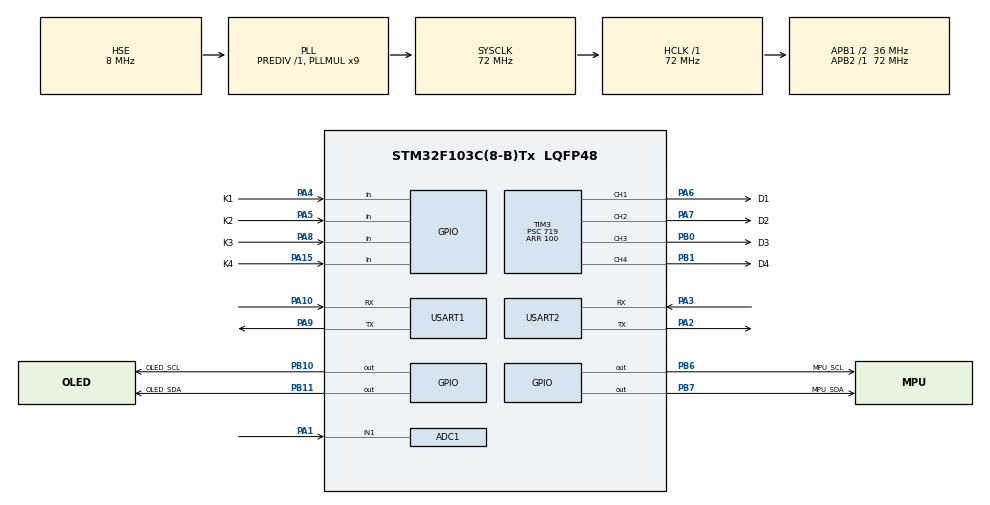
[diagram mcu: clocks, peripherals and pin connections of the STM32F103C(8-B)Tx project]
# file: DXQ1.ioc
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ADC1.Channel-0\#ChannelRegularConversion=ADC_CHANNEL_1
ADC1.ContinuousConvMode=ENABLE
ADC1.NbrOfConversionFlag=1
ADC1.Rank-0\#ChannelRegularConversion=1
ADC1.SamplingTime-0\#ChannelRegularConversion=ADC_SAMPLETIME_55CYCLES_5
ADC1.master=1
Dma.ADC1.0.Direction=DMA_PERIPH_TO_MEMORY
Dma.ADC1.0.Instance=DMA1_Channel1
Dma.ADC1.0.MemDataAlignment=DMA_MDATAALIGN_HALFWORD
Dma.ADC1.0.MemInc=DMA_MINC_ENABLE
Dma.ADC1.0.Mode=DMA_CIRCULAR
Dma.ADC1.0.PeriphDataAlignment=DMA_PDATAALIGN_HALFWORD
Dma.ADC1.0.PeriphInc=DMA_PINC_DISABLE
Dma.ADC1.0.Priority=DMA_PRIORITY_LOW
Dma.Request0=ADC1
Dma.Request1=USART2_RX
Dma.Request2=USART2_TX
Dma.USART2_RX.1.Direction=DMA_PERIPH_TO_MEMORY
Dma.USART2_RX.1.Instance=DMA1_Channel6
Dma.USART2_RX.1.MemDataAlignment=DMA_MDATAALIGN_BYTE
Dma.USART2_RX.1.MemInc=DMA_MINC_ENABLE
Dma.USART2_RX.1.Mode=DMA_NORMAL
Dma.USART2_RX.1.PeriphDataAlignment=DMA_PDATAALIGN_BYTE
Dma.USART2_RX.1.PeriphInc=DMA_PINC_DISABLE
Dma.USART2_RX.1.Priority=DMA_PRIORITY_LOW
Dma.USART2_TX.2.Direction=DMA_MEMORY_TO_PERIPH
Dma.USART2_TX.2.Instance=DMA1_Channel7
Dma.USART2_TX.2.MemDataAlignment=DMA_MDATAALIGN_BYTE
Dma.USART2_TX.2.MemInc=DMA_MINC_ENABLE
Dma.USART2_TX.2.Mode=DMA_NORMAL
Dma.USART2_TX.2.PeriphDataAlignment=DMA_PDATAALIGN_BYTE
Dma.USART2_TX.2.PeriphInc=DMA_PINC_DISABLE
Dma.USART2_TX.2.Priority=DMA_PRIORITY_LOW
FREERTOS.Tasks01=defaultTask,0,256,StartDefaultTask,Default,NULL,Dynamic,NULL,NULL;myTaskGUI,-3,256,StartTaskGUI,Default,NULL,Dynamic,NULL,NULL;myTaskKeyScan,-3,256,StartTaskKeyScan,Default,NULL,Dynamic,NULL,NULL;myTaskMpu,-3,128,StartTaskMpu,Default,NULL,Dynamic,NULL,NULL;myTaskWifi,-3,128,StartTaskWifi,Default,NULL,Dynamic,NULL,NULL
FREERTOS.configTOTAL_HEAP_SIZE=8192
Mcu.Family=STM32F1
Mcu.Name=STM32F103C(8-B)Tx
Mcu.Package=LQFP48
NVIC.DMA1_Channel1_IRQn=true\:5\:0\:false\:false\:true\:true\:false\:true
NVIC.DMA1_Channel6_IRQn=true\:5\:0\:false\:false\:true\:true\:false\:true
NVIC.DMA1_Channel7_IRQn=true\:5\:0\:false\:false\:true\:true\:false\:true
NVIC.PriorityGroup=NVIC_PRIORITYGROUP_4
NVIC.TIM4_IRQn=true\:0\:0\:false\:false\:true\:false\:false\:true
NVIC.TimeBase=TIM4_IRQn
NVIC.TimeBaseIP=TIM4
NVIC.USART1_IRQn=true\:5\:0\:false\:false\:true\:true\:true\:true
NVIC.USART2_IRQn=true\:5\:0\:false\:false\:true\:true\:true\:true
PA1.Signal=ADCx_IN1
PA10.Mode=Asynchronous
PA10.Signal=USART1_RX
PA13.Mode=Serial_Wire
PA13.Signal=SYS_JTMS-SWDIO
PA14.Mode=Serial_Wire
PA14.Signal=SYS_JTCK-SWCLK
PA15.GPIO_Label=K4
PA15.GPIO_PuPd=GPIO_PULLUP
PA15.Signal=GPIO_Input
PA2.Mode=Asynchronous
PA2.Signal=USART2_TX
PA3.Mode=Asynchronous
PA3.Signal=USART2_RX
PA4.GPIO_Label=K1
PA4.GPIO_PuPd=GPIO_PULLUP
PA4.Signal=GPIO_Input
PA5.GPIO_Label=K2
PA5.GPIO_PuPd=GPIO_PULLUP
PA5.Signal=GPIO_Input
PA6.GPIO_Label=D1
PA6.Signal=S_TIM3_CH1
PA7.GPIO_Label=D2
PA7.Signal=S_TIM3_CH2
PA8.GPIO_Label=K3
PA8.GPIO_PuPd=GPIO_PULLUP
PA8.Signal=GPIO_Input
PA9.Mode=Asynchronous
PA9.Signal=USART1_TX
PB0.GPIO_Label=D3
PB0.Signal=S_TIM3_CH3
PB1.GPIO_Label=D4
PB1.Signal=S_TIM3_CH4
PB10.GPIO_Label=OLED_SCL
PB10.GPIO_ModeDefaultOutputPP=GPIO_MODE_OUTPUT_OD
PB10.Signal=GPIO_Output
PB11.GPIO_Label=OLED_SDA
PB11.GPIO_ModeDefaultOutputPP=GPIO_MODE_OUTPUT_OD
PB11.Signal=GPIO_Output
PB6.GPIO_Label=MPU_SCL
PB6.GPIO_ModeDefaultOutputPP=GPIO_MODE_OUTPUT_OD
PB6.Signal=GPIO_Output
PB7.GPIO_Label=MPU_SDA
PB7.GPIO_ModeDefaultOutputPP=GPIO_MODE_OUTPUT_OD
PB7.Signal=GPIO_Output
PD0-OSC_IN.Mode=HSE-External-Oscillator
PD0-OSC_IN.Signal=RCC_OSC_IN
PD1-OSC_OUT.Mode=HSE-External-Oscillator
PD1-OSC_OUT.Signal=RCC_OSC_OUT
ProjectManager.HeapSize=0x200
ProjectManager.StackSize=0x400
ProjectManager.TargetToolchain=MDK-ARM V5
RCC.ADCPresc=RCC_ADCPCLK2_DIV6
RCC.AHBFreq_Value=72000000
RCC.APB1CLKDivider=RCC_HCLK_DIV2
RCC.APB1Freq_Value=36000000
RCC.APB1TimFreq_Value=72000000
RCC.APB2Freq_Value=72000000
RCC.APB2TimFreq_Value=72000000
RCC.HCLKFreq_Value=72000000
RCC.PLLMUL=RCC_PLL_MUL9
RCC.PLLSourceVirtual=RCC_PLLSOURCE_HSE
RCC.SYSCLKFreq_VALUE=72000000
RCC.SYSCLKSource=RCC_SYSCLKSOURCE_PLLCLK
RCC.USBFreq_Value=72000000
SH.ADCx_IN1.0=ADC1_IN1,IN1
SH.S_TIM3_CH1.0=TIM3_CH1,PWM Generation1 CH1
SH.S_TIM3_CH2.0=TIM3_CH2,PWM Generation2 CH2
SH.S_TIM3_CH3.0=TIM3_CH3,PWM Generation3 CH3
SH.S_TIM3_CH4.0=TIM3_CH4,PWM Generation4 CH4
TIM3.Channel-PWM\ Generation1\ CH1=TIM_CHANNEL_1
TIM3.Channel-PWM\ Generation2\ CH2=TIM_CHANNEL_2
TIM3.Channel-PWM\ Generation3\ CH3=TIM_CHANNEL_3
TIM3.Channel-PWM\ Generation4\ CH4=TIM_CHANNEL_4
TIM3.OCPolarity_1=TIM_OCPOLARITY_LOW
TIM3.OCPolarity_2=TIM_OCPOLARITY_LOW
TIM3.OCPolarity_3=TIM_OCPOLARITY_LOW
TIM3.OCPolarity_4=TIM_OCPOLARITY_LOW
TIM3.Period=100
TIM3.Prescaler=719
USART1.VirtualMode=VM_ASYNC
USART2.VirtualMode=VM_ASYNC
VP_FREERTOS_VS_CMSIS_V1.Mode=CMSIS_V1
VP_SYS_VS_tim4.Mode=TIM4
VP_TIM3_VS_ClockSourceINT.Mode=Internal
board=custom

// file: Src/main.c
/* USER CODE BEGIN Header */
/**
  ******************************************************************************
  * @file           : main.c
  * @brief          : Main program body
  ******************************************************************************
  * @attention
  *
  * <h2><center>&copy; Copyright (c) 2020 STMicroelectronics.
  * All rights reserved.</center></h2>
  *
  * This software component is licensed by ST under BSD 3-Clause license,
  * the "License"; You may not use this file except in compliance with the
  * License. You may obtain a copy of the License at:
  *                        opensource.org/licenses/BSD-3-Clause
  *
  ******************************************************************************
  */
/* USER CODE END Header */

#include "main.h"
#include "cmsis_os.h"

/* USER CODE BEGIN Includes */
#include "GUI.h"
#include<stdio.h>
#include<stdlib.h>
#include<string.h>
#include "MPU6050.h"
#include "math.h"
#include "ESP8266.h"
/* USER CODE END Includes */

/* USER CODE BEGIN PD */
#define K1        HAL_GPIO_ReadPin(GPIOA,GPIO_PIN_4)  //K1按键PA4
#define K2        HAL_GPIO_ReadPin(GPIOA,GPIO_PIN_5)  //K2按键PA5
#define K3        HAL_GPIO_ReadPin(GPIOA,GPIO_PIN_8)  //K3按键PA8
#define K4        HAL_GPIO_ReadPin(GPIOA,GPIO_PIN_15)  //K2按键PA15
#define D1        HAL_GPIO_ReadPin(GPIOA,GPIO_PIN_6)
#define D2        HAL_GPIO_ReadPin(GPIOA,GPIO_PIN_7)
#define D3        HAL_GPIO_ReadPin(GPIOB,GPIO_PIN_0)
#define D4        HAL_GPIO_ReadPin(GPIOB,GPIO_PIN_1)
#define K1_PRES 1
#define K2_PRES 2
#define K3_PRES 0x04
#define K4_PRES 0x08

#define WS_MAIN 0
#define WS_TEST 1
#define WS_MPU 2
#define WS_PWM 3
#define WS_WIFI 4
/* USER CODE END PD */

ADC_HandleTypeDef hadc1;
DMA_HandleTypeDef hdma_adc1;

TIM_HandleTypeDef htim3;

UART_HandleTypeDef huart1;
UART_HandleTypeDef huart2;
DMA_HandleTypeDef hdma_usart2_rx;
DMA_HandleTypeDef hdma_usart2_tx;

osThreadId defaultTaskHandle;
osThreadId myTaskGUIHandle;
osThreadId myTaskKeyScanHandle;
osThreadId myTaskMpuHandle;
osThreadId myTaskWifiHandle;
/* USER CODE BEGIN PV */
extern GUI_FLASH const GUI_FONT GUI_FontHZ_SimSun_16;
extern GUI_CONST_STORAGE GUI_BITMAP bmyc;
extern GUI_FLASH const GUI_FONT GUI_FontHZ_SimSun_8;
uint8_t g_ws =WS_MAIN;
uint8_t g_ws_next=WS_TEST;
uint16_t val[20];
uint16_t adval=0;
uint16_t freq=500;
unsigned char key_up=1;     //按键松开标志
// uint8_t wifi_flag=1;
uint8_t g_key_cur=0;
uint8_t ledgo=1;
  int led_type=0;
   int tick=0;
 int mpuok=0;
 uint8_t num=0;
  uint8_t num1=5;
   uint8_t num2=0;
 uint8_t pwm_flag=0;
 uint8_t show_mpu=0;
uint8_t test_stat=0;
uint8_t wifi_flag=0;
uint8_t rx1_buff[MAX_RECV_LEN] = {0};
uint8_t rx_line[MAX_RECV_LEN]={0};
uint8_t * pBuf = rx1_buff; // 当前接收字节存放位置指针

uint8_t line_flag = 0; // 一行数据接收标志

uint8_t rx2_buff[MAX_RECV_LEN] = {0};
uint8_t rx2_line[MAX_RECV_LEN]={0};

uint8_t line2_flag = 0; // 一行数据接收标志
 uint8_t maxlight = 100;    // 最大亮度占空比
  uint8_t minlight = 1;     // 最低亮度占空比
  char User_ESP8266_TcpServer_IP[4] = {192, 168,4,2}; //要连接的服务器的 IP
char User_ESP8266_TcpServer_Port[10] = "4321";      //要连接的服务器的端口
/* USER CODE END PV */

void SystemClock_Config(void);
static void MX_GPIO_Init(void);
static void MX_DMA_Init(void);
static void MX_ADC1_Init(void);
static void MX_USART1_UART_Init(void);
static void MX_TIM3_Init(void);
static void MX_USART2_UART_Init(void);
static void MX_USART2_UART_Init(void);
static void MX_USART2_UART_Init(void);
void StartDefaultTask(void const * argument);
void StartTaskGUI(void const * argument);
void StartTaskKeyScan(void const * argument);
void StartTaskMpu(void const * argument);
void StartTaskWifi(void const * argument);

/* USER CODE BEGIN 0 */
int check_5m(void)
{
  if(rx_line[4]>='a'&&rx_line[4]<='z'&&rx_line[5]>='a'&&rx_line[5]<='z')
  {
        if('5'+'M'+rx_line[2]+rx_line[3]==(16*(rx_line[4] - 'a' + 10)+rx_line[5] -'a'+10))
      return 1;
      return 0;
  }
   if(rx_line[4]>='a'&&rx_line[4]<='z'&&rx_line[5]>='0'&&rx_line[5]<='9')
   {
     if('5'+'M'+rx_line[2]+rx_line[3]==(16*(rx_line[4] - 'a' + 10)+rx_line[5] -'0'))
      return 1;
      return 0;
   }
  if(rx_line[4]>='A'&&rx_line[4]<='Z'&&rx_line[5]>='A'&&rx_line[5]<='Z')
  {
        if('5'+'M'+rx_line[2]+rx_line[3]==(16*(rx_line[4] - 'A' + 10)+rx_line[5] -'A'+10))
      return 1;
      return 0;
  }
  return 0;

}

int check_pwm(void)
{
  char TAB[16]={'0','1','2','3','4','5','6','7','8','9','A','B','C','D','E','F'};
  uint32_t sum=0;
          uint8_t i;

          for(i=0;i<5;++i)
          {
              sum+=rx_line[i];
          }
          if(rx_line[5]==TAB[(sum&0xff)>>4]&&rx_line[6]==TAB[(sum&0x0f)])
          return 1;
          return 0;

}
void addchecksum(char *str )
{
   const char TAB[16]={'0','1','2','3','4','5','6','7','8','9','A','B','C','D','E','F'};
         uint32_t sum=0;
          uint8_t i;
         int  len=strlen(str);
          for(i=0;i<len;++i)
          {
            if(str[i]!='\n'&&str[i]!=0)
              sum+=str[i];
            else break;
          }
          str[len]=TAB[(sum&0xff)>>4];
          str[len+1]=TAB[(sum&0x0f)];
          str[len+2]='\n';
          str[len+3]='\0';
}

int fputc(int ch, FILE *f)
{
  HAL_UART_Transmit(&huart1, (uint8_t *)&ch, 1, 0xffff); //
  return 0;
}
void setLED(unsigned char val)
{
	HAL_GPIO_WritePin(D1_GPIO_Port,D1_Pin,(val&0x01)?GPIO_PIN_RESET:GPIO_PIN_SET);
	HAL_GPIO_WritePin(D2_GPIO_Port,D2_Pin,(val&0x02)?GPIO_PIN_RESET:GPIO_PIN_SET);
	HAL_GPIO_WritePin(D3_GPIO_Port,D3_Pin,(val&0x04)?GPIO_PIN_RESET:GPIO_PIN_SET);
	HAL_GPIO_WritePin(D4_GPIO_Port,D4_Pin,(val&0x08)?GPIO_PIN_RESET:GPIO_PIN_SET);
}
unsigned char KEY_Scan(unsigned char mode)
{

    if(mode==1)key_up=1;    //支持连按
    if(key_up&&(K1==0||K2==0||K3==0||K4==0))
    {
        HAL_Delay(100);
        key_up=0;
        if(K1==0)       return K1_PRES;
        else if(K2==0)  return K2_PRES;
        else if(K3==0) return K3_PRES;
				else if(K4==0) return K4_PRES;
    }else if(K1==1&&K2==1&&K3==1&&K4==1)key_up=1;
    return 0;   //无按键按下
}
void ShowMainGUI(void)
{
  GUI_Clear();
	GUI_DispStringHCenterAt("主菜单",64,0);
	if(g_ws_next>=WS_PWM)
	{
		if((HAL_GetTick()%1000)>500)
		{
			if(WS_MPU==g_ws_next)
        GUI_DispStringAt("*",0,16);
      if(g_ws_next==WS_PWM)
        GUI_DispStringAt("*",0,32);
      if(g_ws_next==WS_WIFI)
        GUI_DispStringAt("*",0,48);
		}

		GUI_DispStringAt("姿态解算",16,16);
		GUI_DispStringAt("呼吸灯",16,32);
		GUI_DispStringAt("WIFI通信",16,48);
	}
	else {
    	if((HAL_GetTick()%1000)>500)
		{
			if(WS_TEST==g_ws_next)
        GUI_DispStringAt("*",0,16);
      if(g_ws_next==WS_MPU)
        GUI_DispStringAt("*",0,32);
      if(g_ws_next==WS_PWM)
        GUI_DispStringAt("*",0,48);
		}
		GUI_DispStringAt("系统测试",16,16);
		GUI_DispStringAt("姿态解算",16,32);
		GUI_DispStringAt("呼吸灯",16,48);
	}
  GUI_Update();
}
void ShowTestGUI(void)
{
  GUI_Clear();
  GUI_DispStringHCenterAt("系统测试",64,0);
   GUI_SetFont(&GUI_Font8_ASCII);
  if(test_stat==0)
  {

      char buf[30];
      sprintf(buf,"AD:%d",adval);
      GUI_DispStringAt(buf,10,16);

      GUI_FillRect(50,16,50+(adval%1000)*70/1000,17);
      if(adval>=4000)
      GUI_FillRect(50,18,120,19);
      if(adval>=3000)
      GUI_FillRect(50,20,120,21);
      if(adval>=2000)
      GUI_FillRect(50,22,120,23);
      if(adval>=1000)
      GUI_FillRect(50,24,120,25);
      GUI_DispStringAt("press k3 to i/s",10,55);
      GUI_SetFont(&GUI_FontHZ_SimSun_8);
      if(K1==0)
      {
        GUI_DispStringAt("▁",10,30);
        // GUI_SetColor(GUI_COLOR_BLACK);
        // GUI_DispStringAt("K1",10,30);
        // GUI_SetColor(GUI_COLOR_WHITE);
      }
      else {
        GUI_DispStringAt("█",10,30);
      }

      if(K2==0)
      {
        GUI_DispStringAt("▁",30,30);
        // GUI_SetColor(GUI_COLOR_BLACK);
        // GUI_DispStringAt("K2",30,30);
        // GUI_SetColor(GUI_COLOR_WHITE);
      }
      else {
        GUI_DispStringAt("█",30,30);
      }
      if(K3==0)
      {
        GUI_DispStringAt("▁",50,30);
        // GUI_SetColor(GUI_COLOR_BLACK);
        // GUI_DispStringAt("K3",50,30);
        // GUI_SetColor(GUI_COLOR_WHITE);

      }
      else {
        GUI_DispStringAt("█",50,30);
      }
      if(K4==0)
      {
        GUI_DispStringAt("▁",70,30);
        // GUI_SetColor(GUI_COLOR_BLACK);
        // GUI_DispStringAt("K4",70,30);
        // GUI_SetColor(GUI_COLOR_WHITE);
      }
      else {
        GUI_DispStringAt("█",70,30);
      }
      if(D1==0)
      {
        GUI_DispStringAt("●",10,40);
        // GUI_SetColor(GUI_COLOR_BLACK);
        // GUI_DispStringAt("D1",10,40);
        // GUI_SetColor(GUI_COLOR_WHITE);
      }
      else {
        GUI_DispStringAt("○",10,40);
      }
      if(D2==0)
      {
        GUI_DispStringAt("●",30,40);
        // GUI_SetColor(GUI_COLOR_BLACK);
        // GUI_DispStringAt("D2",30,40);
        // GUI_SetColor(GUI_COLOR_WHITE);
      }
      else {
        GUI_DispStringAt("○",30,40);
      }
      if(D3==0)
      {
        GUI_DispStringAt("●",50,40);
        // GUI_SetColor(GUI_COLOR_BLACK);
        // GUI_DispStringAt("D3",50,40);
        // GUI_SetColor(GUI_COLOR_WHITE);
      }
      else {
        GUI_DispStringAt("○",50,40);
      }
      if(D4==0)
      {
        GUI_DispStringAt("●",70,40);
        // GUI_SetColor(GUI_COLOR_BLACK);
        // GUI_DispStringAt("D4",70,40);
        // GUI_SetColor(GUI_COLOR_WHITE);
      }
      else {
        GUI_DispStringAt("○",70,40);
      }
      GUI_SetFont(&GUI_Font8_ASCII);
      	sprintf(buf, "5MBD%c%c%c%c%c%c%c%c",
									(D1) ? '1' : '0',
									(D2) ? '1' : '0',
									(D3) ? '1' : '0',
									(D4) ? '1' : '0',
									(!K1) ? 'D' : 'U',
									(!K2) ? 'D' : 'U',
									(!K3) ? 'D' : 'U',
									(!K4) ? 'D' : 'U');
    addchecksum(buf);

    if(HAL_GetTick()>=tick+500)
    {
      tick=HAL_GetTick();
       printf("%s",buf);
    }

  }
  else
  {
    char buf[30];

      sprintf(buf,"ax:%6d   gx:%6d",ax,gx);
    GUI_DispStringAt(buf,4,20);

    if(ax>0)
    GUI_FillRect(32,28,32+ax*32/20000,36);
    else
    GUI_FillRect(32+ax*32/20000,28,32,36);

    if(gx>0)
    GUI_FillRect(96,28,96+gx*32/2000,36);
    else
    {
     GUI_FillRect(96+gx*32/2000,28,96,36);
    }

    sprintf(buf,"ay:%6d   gy:%6d",ay,gy);
    GUI_DispStringAt(buf,4,36);
    if(ay>0)
    GUI_FillRect(32,44,32+ay*32/20000,50);
    else
    GUI_FillRect(32+ay*32/20000,44,32,50);
    if(gy>0)
    GUI_FillRect(96,44,96+gy*32/2000,50);
    else
    {
     GUI_FillRect(96+gy*32/2000,44,96,50);
    }
    sprintf(buf,"az:%6d   gz:%6d",az,gz);
    GUI_DispStringAt(buf,4,50);
    if(az>0)
    GUI_FillRect(32,58,32+az*32/20000,64);
    else
    GUI_FillRect(32+az*32/20000,58,32,64);
   if(gz>0)
    GUI_FillRect(96,58,96+gz*32/2000,64);
    else
    {
     GUI_FillRect(96+gz*32/2000,58,96,64);
    }
  }
   GUI_Update();
      GUI_SetFont(&GUI_FontHZ_SimSun_16);
}

void ShowMPUGUI(void)
{
  GUI_Clear();
  GUI_DispStringHCenterAt("姿态解算",64,0);
  if(mpuok)
  {
    ;
    char buf[80];
    switch(show_mpu)
    {
      case 0:
      GUI_SetFont(&GUI_Font8_ASCII);
      sprintf(buf,"ax:%6d   gx:%6d",ax,gx);
    GUI_DispStringAt(buf,4,20);
    sprintf(buf,"ay:%6d   gy:%6d",ay,gy);
    GUI_DispStringAt(buf,4,36);
    sprintf(buf,"az:%6d   gz:%6d",az,gz);
    GUI_DispStringAt(buf,4,50);
    GUI_SetFont(&GUI_FontHZ_SimSun_16);
      break;
      case 1:

     sprintf(buf,"导航角：%.1f",fAX);
    GUI_DispStringAt(buf,4,16);
     sprintf(buf,"俯仰角：%.1f",fAY);
    GUI_DispStringAt(buf,4,32);
     sprintf(buf,"横滚角：%.1f",fAZ);
    GUI_DispStringAt(buf,4,48);
        sprintf(buf,"5MRD%6.1f%6.1f%6.1f%6.1f",adval*3.3/4095,fAX,fAY,fAZ);
        addchecksum(buf);
         if(HAL_GetTick()>=tick+500)
          {
            tick=HAL_GetTick();
            printf("%s",buf);
          }
      break;
      case 2:
      {
        // int x1,y1,x2,y2;
        // int ox=64,oy=32;
        // y1=(fAY>0?fAY:-fAY);
        // xl=ox-(16*sin(fAY*6.28/360));
        // yl=oy-(16*sin(fAZ*6.28/360));
        // xr=ox+(16*sin(fAY*6.28/360));
        // yr=oy+(16*sin(fAZ*6.28/360));
        // if(xl>xr)
        // {
        //   int t=xr;
        //   xr=xl;
        //   xl=t;
        // }
        // if(yl>yr)
        // {
        //   int t=yr;
        //   yr=yl;
        //   yl=t;
        // }

        // GUI_DrawVLine(xl,yl,yr);
        // GUI_DrawVLine(xr,yl,yr);

        // GUI_DrawHLine(yl,xl,xr);
        // GUI_DrawHLine(yr,xl,xr);
        // printf("xl:%d yl:%d xr:%d yr:%d\r\n ",xl,yl,xr,yr);
        // GUI_FillRect(32,16,96,24+y1*24/180);
       int xl,yl,xr,yr;
        int ox=64,oy=32;
        xl=ox-(16*cos(fAY*6.28/360));
        yl=oy-(16*cos(fAZ*6.28/360));
        xr=ox+(16*cos(fAY*6.28/360));
        yr=oy+(16*cos(fAZ*6.28/360));
        if(xl>xr)
        {
          int t=xr;
          xr=xl;
          xl=t;
        }
        if(yl>yr)
        {
          int t=yr;
          yr=yl;
          yl=t;
        }

        GUI_DrawVLine(xl,yl,yr);
        GUI_DrawVLine(xr,yl,yr);

        GUI_DrawHLine(yl,xl,xr);
        GUI_DrawHLine(yr,xl,xr);
      }

      break;
    }

  }
  else
  {
    GUI_DispStringHCenterAt("MPU6050 ERR!",64,20);
  }

  GUI_Update();
}
void ShowPWMGUI(void)
{
  GUI_Clear();
   GUI_DispStringHCenterAt("呼吸灯",64,0);
 	GUI_DispStringAt("K1:调节灯数",16,16);
		GUI_DispStringAt("K2:调节频率",16,32);
		GUI_DispStringAt("K3:调节亮度",16,48);
  GUI_Update();
}
void  ShowWiFiGUI(void)
{

  if(wifi_flag==0){
    int m=ESP8266_AT_Test();
      if(m==0)
    {
      GUI_Clear();
      GUI_DispStringHCenterAt("WIFI ERR",64,0);
      GUI_Update();
      wifi_flag=0;
    }
    else
    wifi_flag=1;
   return;
  }

  else
  {
    wifi_flag=1;
        char buf[30];
      GUI_Clear();
      GUI_DispStringHCenterAt("WIFI通信",64,0);

      GUI_SetFont(&GUI_Font8_ASCII);
    GUI_DispStringAt("SSID: ESP8266_bd6a",0,16);
    sprintf(buf,"ip:%d.%d.%d.%d",User_ESP8266_TcpServer_IP[0],User_ESP8266_TcpServer_IP[1],User_ESP8266_TcpServer_IP[2],User_ESP8266_TcpServer_IP[3]);
        GUI_DispStringAt(buf,0,24);
        sprintf(buf,"port:%d%d%d%d",User_ESP8266_TcpServer_Port[0]-'0',User_ESP8266_TcpServer_Port[1]-'0',User_ESP8266_TcpServer_Port[2]-'0',User_ESP8266_TcpServer_Port[3]-'0');
        GUI_DispStringAt(buf,0,32);
      GUI_DispStringAt("K1  :CONNECT TCP SERVER",0,40);
        GUI_DispStringAt("K2  :SEND ARRAY",0,48);
        GUI_DispStringAt("K3:  Unvarnishsend",0,56);

        GUI_SetFont(&GUI_FontHZ_SimSun_16);
      GUI_Update();

  }
  return;
}

void HAL_ADC_ConvCpltCallback(ADC_HandleTypeDef* hadc)
{
  int i;
  uint16_t sum = 0; // 20 次采集数据累加和
  for (i = 0; i < 20; ++i)
  sum += val[i];
  adval = sum / 20;// 均值滤波
  }

	void HAL_UART_RxCpltCallback(UART_HandleTypeDef *UartHandle) {
  ++ pBuf; // 已接收一个字节数据，当前存储位置指针后移
  if(pBuf == rx1_buff + MAX_RECV_LEN) // 如果指针已移出数组边界
    {
      pBuf = rx1_buff; // 重新指向数组开头
    }
  else if(*(pBuf - 1) == '\n') // 如果之前接收到‘\n’换行符，则表示接收完成
  {

    *pBuf='\0';
    memcpy(rx_line,rx1_buff,pBuf-rx1_buff+1);
    pBuf=rx1_buff;
    line_flag = 1;

  }

  __HAL_UNLOCK(UartHandle);
  HAL_UART_Receive_IT(UartHandle, pBuf, 1);
}

void spring(void){
    led_type=0;
    GPIO_InitTypeDef GPIO_InitStruct = {0};
         /*Configure GPIO pins : D1_Pin D2_Pin */
          GPIO_InitStruct.Pin = D1_Pin|D2_Pin;
          GPIO_InitStruct.Mode = GPIO_MODE_OUTPUT_PP;
          GPIO_InitStruct.Pull = GPIO_NOPULL;
          GPIO_InitStruct.Speed = GPIO_SPEED_FREQ_LOW;
          HAL_GPIO_Init(GPIOA, &GPIO_InitStruct);

          /*Configure GPIO pins : D3_Pin D4_Pin */
          GPIO_InitStruct.Pin = D3_Pin|D4_Pin;
          GPIO_InitStruct.Mode = GPIO_MODE_OUTPUT_PP;
          GPIO_InitStruct.Pull = GPIO_NOPULL;
          GPIO_InitStruct.Speed = GPIO_SPEED_FREQ_LOW;
          HAL_GPIO_Init(GPIOB, &GPIO_InitStruct);
}
/* USER CODE END 0 */

int main(void)
{

  /* MCU Configuration--------------------------------------------------------*/

  /* Reset of all peripherals, Initializes the Flash interface and the Systick. */
  HAL_Init();

  /* Configure the system clock */
  SystemClock_Config();

  /* Initialize all configured peripherals */
  MX_GPIO_Init();
  MX_DMA_Init();
  MX_ADC1_Init();
  MX_USART1_UART_Init();
  MX_TIM3_Init();
  MX_USART2_UART_Init();
  /* USER CODE BEGIN 2 */
      printf("hello\n"); // 向串口 1 发送 hello 字符串
      HAL_UART_Receive_IT(&huart1, pBuf, 1); // 开启第一次中断，每次接收 1 字节
      __HAL_UART_ENABLE_IT(&huart2,UART_IT_IDLE);
      HAL_UART_Receive_DMA(&huart2,rx2_buff,MAX_RECV_LEN);
	 /*Configure GPIO pins : D1_Pin D2_Pin */
    GPIO_InitTypeDef GPIO_InitStruct = {0};
  GPIO_InitStruct.Pin = D1_Pin|D2_Pin;
  GPIO_InitStruct.Mode = GPIO_MODE_OUTPUT_PP;
  GPIO_InitStruct.Pull = GPIO_NOPULL;
  GPIO_InitStruct.Speed = GPIO_SPEED_FREQ_LOW;
  HAL_GPIO_Init(GPIOA, &GPIO_InitStruct);

  /*Configure GPIO pins : D3_Pin D4_Pin */
  GPIO_InitStruct.Pin = D3_Pin|D4_Pin;
  GPIO_InitStruct.Mode = GPIO_MODE_OUTPUT_PP;
  GPIO_InitStruct.Pull = GPIO_NOPULL;
  GPIO_InitStruct.Speed = GPIO_SPEED_FREQ_LOW;
  HAL_GPIO_Init(GPIOB, &GPIO_InitStruct);

  HAL_GPIO_Init(GPIOB, &GPIO_InitStruct);
	setLED(0);
	HAL_Delay(250);
	setLED(0x0f);
	HAL_Delay(250);

	setLED(0x00);
	HAL_Delay(250);
	setLED(0x0f);
	HAL_Delay(250);
	setLED(0x00);

	GUI_Init();
	GUI_SetFont(&GUI_FontHZ_SimSun_16);
	GUI_DispStringAt("专业设计实践II",0,0);
	GUI_DispStringAt("杨宇晨17041129",0,20);
	GUI_Update();
	GUI_Delay(1000);
	GUI_Clear();
	GUI_DrawBitmap(&bmyc,(128-bmyc.XSize)/2,(64-bmyc.YSize)/2);
	GUI_Update();

	while(K1==1&&K2==1&&K3==1&&K4==1);
  //  MX_TIM3_Init();
	HAL_Delay(250);
	GUI_Clear();
	GUI_Update();
  HAL_ADCEx_Calibration_Start(&hadc1);
  HAL_ADC_Start_DMA(&hadc1, (uint32_t *)val, 20); // 启动 DMA 方式连续采集，每采 20 个数据触发中断
  /* USER CODE END 2 */

  /* Create the thread(s) */
  /* definition and creation of defaultTask */
  osThreadDef(defaultTask, StartDefaultTask, osPriorityNormal, 0, 256);
  defaultTaskHandle = osThreadCreate(osThread(defaultTask), NULL);

  /* definition and creation of myTaskGUI */
  osThreadDef(myTaskGUI, StartTaskGUI, osPriorityIdle, 0, 256);
  myTaskGUIHandle = osThreadCreate(osThread(myTaskGUI), NULL);

  /* definition and creation of myTaskKeyScan */
  osThreadDef(myTaskKeyScan, StartTaskKeyScan, osPriorityIdle, 0, 256);
  myTaskKeyScanHandle = osThreadCreate(osThread(myTaskKeyScan), NULL);

  /* definition and creation of myTaskMpu */
  osThreadDef(myTaskMpu, StartTaskMpu, osPriorityIdle, 0, 128);
  myTaskMpuHandle = osThreadCreate(osThread(myTaskMpu), NULL);

  /* definition and creation of myTaskWifi */
  osThreadDef(myTaskWifi, StartTaskWifi, osPriorityIdle, 0, 128);
  myTaskWifiHandle = osThreadCreate(osThread(myTaskWifi), NULL);

  /* Start scheduler */
  osKernelStart();

  /* We should never get here as control is now taken by the scheduler */

  /* Infinite loop */
  while (1)
  {
	}

}

void SystemClock_Config(void)
{
  RCC_OscInitTypeDef RCC_OscInitStruct = {0};
  RCC_ClkInitTypeDef RCC_ClkInitStruct = {0};
  RCC_PeriphCLKInitTypeDef PeriphClkInit = {0};

  /** Initializes the CPU, AHB and APB busses clocks
  */
  RCC_OscInitStruct.OscillatorType = RCC_OSCILLATORTYPE_HSE;
  RCC_OscInitStruct.HSEState = RCC_HSE_ON;
  RCC_OscInitStruct.HSEPredivValue = RCC_HSE_PREDIV_DIV1;
  RCC_OscInitStruct.HSIState = RCC_HSI_ON;
  RCC_OscInitStruct.PLL.PLLState = RCC_PLL_ON;
  RCC_OscInitStruct.PLL.PLLSource = RCC_PLLSOURCE_HSE;
  RCC_OscInitStruct.PLL.PLLMUL = RCC_PLL_MUL9;
  if (HAL_RCC_OscConfig(&RCC_OscInitStruct) != HAL_OK)
  {
    Error_Handler();
  }
  /** Initializes the CPU, AHB and APB busses clocks
  */
  RCC_ClkInitStruct.ClockType = RCC_CLOCKTYPE_HCLK|RCC_CLOCKTYPE_SYSCLK
                              |RCC_CLOCKTYPE_PCLK1|RCC_CLOCKTYPE_PCLK2;
  RCC_ClkInitStruct.SYSCLKSource = RCC_SYSCLKSOURCE_PLLCLK;
  RCC_ClkInitStruct.AHBCLKDivider = RCC_SYSCLK_DIV1;
  RCC_ClkInitStruct.APB1CLKDivider = RCC_HCLK_DIV2;
  RCC_ClkInitStruct.APB2CLKDivider = RCC_HCLK_DIV1;

  if (HAL_RCC_ClockConfig(&RCC_ClkInitStruct, FLASH_LATENCY_2) != HAL_OK)
  {
    Error_Handler();
  }
  PeriphClkInit.PeriphClockSelection = RCC_PERIPHCLK_ADC;
  PeriphClkInit.AdcClockSelection = RCC_ADCPCLK2_DIV6;
  if (HAL_RCCEx_PeriphCLKConfig(&PeriphClkInit) != HAL_OK)
  {
    Error_Handler();
  }
}

static void MX_ADC1_Init(void)
{

  ADC_ChannelConfTypeDef sConfig = {0};

  /** Common config
  */
  hadc1.Instance = ADC1;
  hadc1.Init.ScanConvMode = ADC_SCAN_DISABLE;
  hadc1.Init.ContinuousConvMode = ENABLE;
  hadc1.Init.DiscontinuousConvMode = DISABLE;
  hadc1.Init.ExternalTrigConv = ADC_SOFTWARE_START;
  hadc1.Init.DataAlign = ADC_DATAALIGN_RIGHT;
  hadc1.Init.NbrOfConversion = 1;
  if (HAL_ADC_Init(&hadc1) != HAL_OK)
  {
    Error_Handler();
  }
  /** Configure Regular Channel
  */
  sConfig.Channel = ADC_CHANNEL_1;
  sConfig.Rank = ADC_REGULAR_RANK_1;
  sConfig.SamplingTime = ADC_SAMPLETIME_55CYCLES_5;
  if (HAL_ADC_ConfigChannel(&hadc1, &sConfig) != HAL_OK)
  {
    Error_Handler();
  }

}

static void MX_TIM3_Init(void)
{

  TIM_ClockConfigTypeDef sClockSourceConfig = {0};
  TIM_MasterConfigTypeDef sMasterConfig = {0};
  TIM_OC_InitTypeDef sConfigOC = {0};

  htim3.Instance = TIM3;
  htim3.Init.Prescaler = 719;
  htim3.Init.CounterMode = TIM_COUNTERMODE_UP;
  htim3.Init.Period = 100;
  htim3.Init.ClockDivision = TIM_CLOCKDIVISION_DIV1;
  htim3.Init.AutoReloadPreload = TIM_AUTORELOAD_PRELOAD_DISABLE;
  if (HAL_TIM_Base_Init(&htim3) != HAL_OK)
  {
    Error_Handler();
  }
  sClockSourceConfig.ClockSource = TIM_CLOCKSOURCE_INTERNAL;
  if (HAL_TIM_ConfigClockSource(&htim3, &sClockSourceConfig) != HAL_OK)
  {
    Error_Handler();
  }
  if (HAL_TIM_PWM_Init(&htim3) != HAL_OK)
  {
    Error_Handler();
  }
  sMasterConfig.MasterOutputTrigger = TIM_TRGO_RESET;
  sMasterConfig.MasterSlaveMode = TIM_MASTERSLAVEMODE_DISABLE;
  if (HAL_TIMEx_MasterConfigSynchronization(&htim3, &sMasterConfig) != HAL_OK)
  {
    Error_Handler();
  }
  sConfigOC.OCMode = TIM_OCMODE_PWM1;
  sConfigOC.Pulse = 0;
  sConfigOC.OCPolarity = TIM_OCPOLARITY_LOW;
  sConfigOC.OCFastMode = TIM_OCFAST_DISABLE;
  if (HAL_TIM_PWM_ConfigChannel(&htim3, &sConfigOC, TIM_CHANNEL_1) != HAL_OK)
  {
    Error_Handler();
  }
  if (HAL_TIM_PWM_ConfigChannel(&htim3, &sConfigOC, TIM_CHANNEL_2) != HAL_OK)
  {
    Error_Handler();
  }
  if (HAL_TIM_PWM_ConfigChannel(&htim3, &sConfigOC, TIM_CHANNEL_3) != HAL_OK)
  {
    Error_Handler();
  }
  if (HAL_TIM_PWM_ConfigChannel(&htim3, &sConfigOC, TIM_CHANNEL_4) != HAL_OK)
  {
    Error_Handler();
  }
  HAL_TIM_MspPostInit(&htim3);

}

static void MX_USART1_UART_Init(void)
{

  huart1.Instance = USART1;
  huart1.Init.BaudRate = 115200;
  huart1.Init.WordLength = UART_WORDLENGTH_8B;
  huart1.Init.StopBits = UART_STOPBITS_1;
  huart1.Init.Parity = UART_PARITY_NONE;
  huart1.Init.Mode = UART_MODE_TX_RX;
  huart1.Init.HwFlowCtl = UART_HWCONTROL_NONE;
  huart1.Init.OverSampling = UART_OVERSAMPLING_16;
  if (HAL_UART_Init(&huart1) != HAL_OK)
  {
    Error_Handler();
  }

}

static void MX_USART2_UART_Init(void)
{

  huart2.Instance = USART2;
  huart2.Init.BaudRate = 115200;
  huart2.Init.WordLength = UART_WORDLENGTH_8B;
  huart2.Init.StopBits = UART_STOPBITS_1;
  huart2.Init.Parity = UART_PARITY_NONE;
  huart2.Init.Mode = UART_MODE_TX_RX;
  huart2.Init.HwFlowCtl = UART_HWCONTROL_NONE;
  huart2.Init.OverSampling = UART_OVERSAMPLING_16;
  if (HAL_UART_Init(&huart2) != HAL_OK)
  {
    Error_Handler();
  }

}

static void MX_DMA_Init(void)
{

  /* DMA controller clock enable */
  __HAL_RCC_DMA1_CLK_ENABLE();

  /* DMA interrupt init */
  /* DMA1_Channel1_IRQn interrupt configuration */
  HAL_NVIC_SetPriority(DMA1_Channel1_IRQn, 5, 0);
  HAL_NVIC_EnableIRQ(DMA1_Channel1_IRQn);
  /* DMA1_Channel6_IRQn interrupt configuration */
  HAL_NVIC_SetPriority(DMA1_Channel6_IRQn, 5, 0);
  HAL_NVIC_EnableIRQ(DMA1_Channel6_IRQn);
  /* DMA1_Channel7_IRQn interrupt configuration */
  HAL_NVIC_SetPriority(DMA1_Channel7_IRQn, 5, 0);
  HAL_NVIC_EnableIRQ(DMA1_Channel7_IRQn);

}

static void MX_GPIO_Init(void)
{
  GPIO_InitTypeDef GPIO_InitStruct = {0};

  /* GPIO Ports Clock Enable */
  __HAL_RCC_GPIOD_CLK_ENABLE();
  __HAL_RCC_GPIOA_CLK_ENABLE();
  __HAL_RCC_GPIOB_CLK_ENABLE();

  /*Configure GPIO pin Output Level */
  HAL_GPIO_WritePin(GPIOB, OLED_SCL_Pin|OLED_SDA_Pin|MPU_SCL_Pin|MPU_SDA_Pin, GPIO_PIN_RESET);

  /*Configure GPIO pins : K1_Pin K2_Pin K3_Pin K4_Pin */
  GPIO_InitStruct.Pin = K1_Pin|K2_Pin|K3_Pin|K4_Pin;
  GPIO_InitStruct.Mode = GPIO_MODE_INPUT;
  GPIO_InitStruct.Pull = GPIO_PULLUP;
  HAL_GPIO_Init(GPIOA, &GPIO_InitStruct);

  /*Configure GPIO pins : OLED_SCL_Pin OLED_SDA_Pin MPU_SCL_Pin MPU_SDA_Pin */
  GPIO_InitStruct.Pin = OLED_SCL_Pin|OLED_SDA_Pin|MPU_SCL_Pin|MPU_SDA_Pin;
  GPIO_InitStruct.Mode = GPIO_MODE_OUTPUT_OD;
  GPIO_InitStruct.Pull = GPIO_NOPULL;
  GPIO_InitStruct.Speed = GPIO_SPEED_FREQ_LOW;
  HAL_GPIO_Init(GPIOB, &GPIO_InitStruct);

}

void StartDefaultTask(void const * argument)
{

  /* USER CODE BEGIN 5 */
  uint8_t led_sta=0x01;
  uint32_t led_tick=HAL_GetTick();

  uint8_t light_3 = (maxlight - minlight) / 3; // 临时变量

  uint8_t cnt[4] = {minlight, minlight + light_3, minlight + light_3 * 2, maxlight};
  uint8_t bdir[4] = {0};	// 亮度变化趋势
  htim3.Instance->CCR1=cnt[0];
  htim3.Instance->CCR2=cnt[1];
  htim3.Instance->CCR3=cnt[2];
  htim3.Instance->CCR4=cnt[3];
  HAL_TIM_PWM_Start(&htim3, TIM_CHANNEL_1); // 开启 TIM3 定时器的通道 1PWM 输出
  HAL_TIM_PWM_Start(&htim3, TIM_CHANNEL_2);
  HAL_TIM_PWM_Start(&htim3,TIM_CHANNEL_3);
  HAL_TIM_PWM_Start(&htim3,TIM_CHANNEL_4);

  /* Infinite loop */
  for(;;)
  {
     if(line_flag)
    {
      line_flag=0;
      printf("%s",rx_line);
      if(strstr((char *)rx_line,"5M")==(char * )rx_line)
      {
        if(check_pwm()&&rx_line[3]=='M')
        {

          num2=rx_line[4]-'0';
          printf("%d\r\n",num2);
        }
         if(check_pwm()&&rx_line[3]=='S')
        {

          num1=rx_line[4]-'0';
          printf("%d\r\n",num1);
        }
      }
      if(strstr((char *)rx_line,"AT")==(char * )rx_line)
      HAL_UART_Transmit_DMA(&huart2,rx_line,strlen((char *)rx_line));

    }
		if(led_type)
    {

        freq=1000-num1*100;
        if(num1==0)
        freq=10000;
        maxlight=(100-num2*10);
        // printf("%d\n\r",maxlight);
              osDelay(freq / (maxlight - minlight));	// 设计 LED 亮度从最低变化到最高需要 500 毫秒
          for (uint8_t i = 0; i < 4; ++i)
          {	// 四个 LED 灯亮度分别变化
                if (0 == bdir[i])
                {  // 渐亮变化

              if (++cnt[i] >= maxlight)
              bdir[i] = 1;

              }
              else
                {	// 渐暗变化

                  if (--cnt[i] == minlight)
                  bdir[i] = 0;

                }
          }
          switch(num)
          {
            case 0:
                htim3.Instance->CCR1=cnt[0];
                htim3.Instance->CCR2=cnt[1];
                htim3.Instance->CCR3=cnt[2];
                htim3.Instance->CCR4=cnt[3];
            break;
            case 1:
                 htim3.Instance->CCR1=0;
                htim3.Instance->CCR2=cnt[1];
                htim3.Instance->CCR3=cnt[2];
                htim3.Instance->CCR4=cnt[3];
            break;

            case 2:
                htim3.Instance->CCR1=0;
                htim3.Instance->CCR2=0;
                htim3.Instance->CCR3=cnt[2];
                htim3.Instance->CCR4=cnt[3];
           break;

            case 3:
               htim3.Instance->CCR1=0;
                htim3.Instance->CCR2=0;
                htim3.Instance->CCR3=0;
                htim3.Instance->CCR4=cnt[3];
          break;
          }

    }

       setLED(led_sta);
          if(HAL_GetTick()>=led_tick+300&&ledgo==1)
          {
            led_tick=HAL_GetTick();
            led_sta<<=1;
            if(led_sta>0x08)
            led_sta=0x01;
          }

    osDelay(1);

  }
  /* USER CODE END 5 */
}

void StartTaskGUI(void const * argument)
{
  /* USER CODE BEGIN StartTaskGUI */
  /* Infinite loop */
  for(;;)
  {
    switch(g_ws)
		{
			default:
			case WS_MAIN:
      ShowMainGUI();
      spring();
       pwm_flag=0;
				break;
			case WS_TEST:
        ShowTestGUI();
				break;
			case WS_MPU:
        ShowMPUGUI();
				break;
			case WS_PWM:
        ShowPWMGUI();
        pwm_flag++;
        if(pwm_flag==1)
        {
                led_type=1;
                MX_TIM3_Init();
                HAL_TIM_PWM_Stop(&htim3, TIM_CHANNEL_1);
                HAL_TIM_PWM_Stop(&htim3, TIM_CHANNEL_2);
                HAL_TIM_PWM_Stop(&htim3,TIM_CHANNEL_3);
                HAL_TIM_PWM_Stop(&htim3,TIM_CHANNEL_4);
                maxlight=80;
                HAL_TIM_PWM_Start(&htim3, TIM_CHANNEL_1); // 开启 TIM3 定时器的通道 1PWM 输出
                HAL_TIM_PWM_Start(&htim3, TIM_CHANNEL_2);
                HAL_TIM_PWM_Start(&htim3,TIM_CHANNEL_3);
                HAL_TIM_PWM_Start(&htim3,TIM_CHANNEL_4);

        }

				break;
			case WS_WIFI:

      ShowWiFiGUI();

				break;
		}
    osDelay(1);
  }
  /* USER CODE END StartTaskGUI */
}

void StartTaskKeyScan(void const * argument)
{
  /* USER CODE BEGIN StartTaskKeyScan */
  const char TAB[16]={'0','1','2','3','4','5','6','7','8','9','A','B','C','D','E','F'};
  /* Infinite loop */
  for(;;)
  {
     g_key_cur=KEY_Scan(0);            //按键扫描
		if(g_key_cur==K4_PRES)
		{
			g_ws=WS_MAIN;
      pwm_flag=0;
     spring();

		}
    	switch(g_ws)
		{
			default:
			case WS_MAIN:

					switch(g_key_cur)
						{
						case K1_PRES:
							if(g_ws_next>WS_TEST)
								--g_ws_next;
							break;
						case K2_PRES:
							if(g_ws_next<WS_WIFI)
								++g_ws_next;
							break;
						case K3_PRES:
							g_ws=g_ws_next;

							break;
					;
						default:
							HAL_Delay(10);
								break;
						}

				break;
			case WS_TEST:

        switch(g_key_cur)
        {
          case K3_PRES:
          ledgo=!ledgo;
          break;
          case K1_PRES:
          test_stat=1;
          break;
          case K2_PRES:
          test_stat=0;
        }
				break;
			case WS_MPU:
        switch(g_key_cur)
        {
          case K1_PRES:
          if(show_mpu<1)
        {
          show_mpu++;
        }
        else {
          show_mpu=0;
        }
            break;
          case K2_PRES:
           if(show_mpu>0)
        {
          show_mpu--;
        }
        else {
          show_mpu=1;
        }
          break;
          case K3_PRES:
          show_mpu=2;
          break;

        }

				break;
			case WS_PWM:
        if(g_key_cur==K4_PRES||K4==0)
        {
          spring();

        }
        if(g_key_cur==K1_PRES)
        {
          num++;
          if(num==4)num=0;
        }
        if(g_key_cur==K2_PRES)
        {
          num1++;
          if(num1==10)num1=0;
        }
       if(g_key_cur==K3_PRES)
        {
          num2++;
          if(num2==10)num2=0;
        }
 		  break;
			case WS_WIFI:
        if(g_key_cur==K1_PRES)
        {
          InitESP8266();
        }

        if(g_key_cur==K2_PRES&&K1==1&&K3==1&&K4==1)
        {
          char str[80];
          sprintf(str,"5MYD%4d%6d%6d%6d%6d%6d%6d",adval,ax,ay,az,gx,gy,gz);
          uint8_t sum=0;
          uint8_t i,len;
          len=strlen(str);
          for(i=0;i<len;++i)
          {
              sum+=str[i];
          }
          str[len]=TAB[(sum&0xff)>>4];
          str[len+1]=TAB[(sum&0x0f)];
          str[len+2]='\n';
          str[len+3]='\0';
          HAL_UART_Transmit_DMA(&huart2,(uint8_t*)str,strlen(str));
          printf("%s",str);
        }
        if(g_key_cur==K3_PRES&&K1==1&&K2==1&&K4==1)
        {
          ESP8266_ExitUnvarnishSend();
        }

				break;
		}
    osDelay(1);
  }
  /* USER CODE END StartTaskKeyScan */
}

void StartTaskMpu(void const * argument)
{
  /* USER CODE BEGIN StartTaskMpu */
  mpuok=MPU_init();

  float temp=0;
  if(!mpuok)
  {
    printf("Error init MPU\n");
  }
  /* Infinite loop */
  for(;;)
  {
		//  if(line_flag)
    // {
    //   line_flag=0;
    //   printf("%s",rx_line);
    //   if(strstr((char *)rx_line,"5M")==(char * )rx_line)
    //   {

    //     switch(rx_line[2])
    //     {
    //       case '+':
    //       if(rx_line[3]=='1'&&rx_line[4]=='D'&&rx_line[5]=='E')
    //       break;
    //     }
    //   }
    //   if(strstr((char *)rx_line,"AT")==(char * )rx_line)
    //   HAL_UART_Transmit_DMA(&huart2,rx_line,strlen((char *)rx_line));

    // }
    if(mpuok)
    {
      MPU_getdata();
      MPU6050_ReturnTemp(&temp);

    }
    osDelay(1);
  }
  /* USER CODE END StartTaskMpu */
}

void StartTaskWifi(void const * argument)
{
  /* USER CODE BEGIN StartTaskWifi */
  /* Infinite loop */
  for(;;)
  {
    if(line2_flag)
    {
      line2_flag=0;
      printf("<--%s\n",rx2_line);
      memcpy(strEsp8266_Fram_Record .Data_RX_BUF,rx2_line,strlen((char *)rx2_line));
      strEsp8266_Fram_Record.FramLength=strlen((char *)rx2_line);
    }
    osDelay(1);
  }
  /* USER CODE END StartTaskWifi */
}

void HAL_TIM_PeriodElapsedCallback(TIM_HandleTypeDef *htim)
{
  if (htim->Instance == TIM4) {
    HAL_IncTick();
  }
}

void Error_Handler(void)
{
}

/************************ (C) COPYRIGHT STMicroelectronics *****END OF FILE****/
